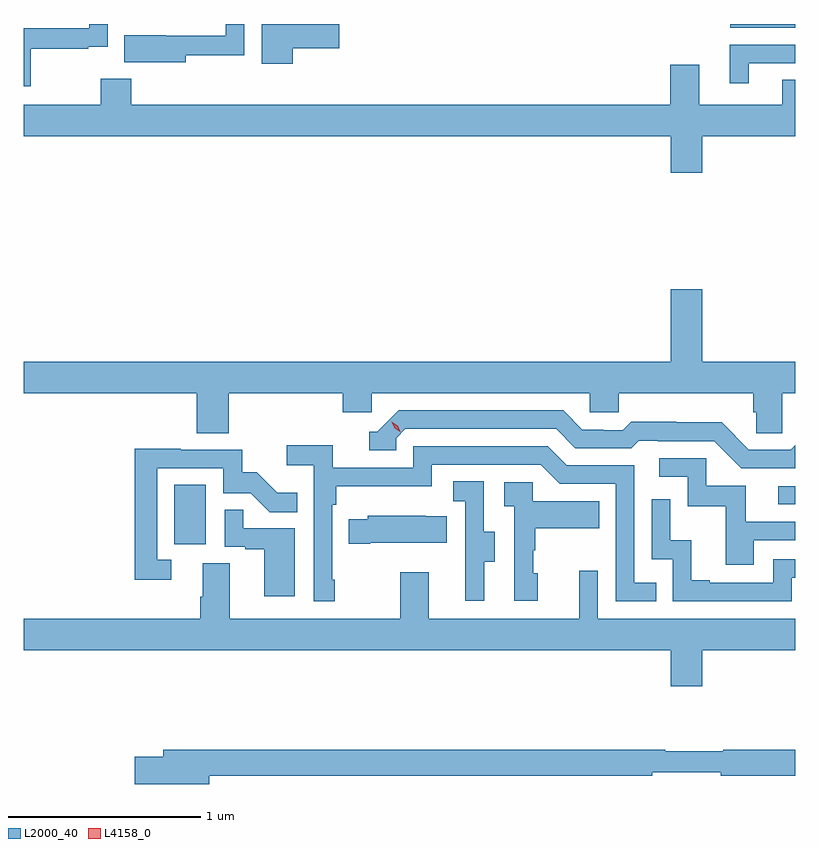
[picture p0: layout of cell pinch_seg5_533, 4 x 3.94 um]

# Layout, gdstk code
import gdstk
lib = gdstk.Library(unit=1e-6, precision=1e-09)
def R(c, l, rs):  # rectangles x0, y0, x1, y1
    for r in rs: c.add(gdstk.rectangle(r[:2], r[2:], *l))
def P(c, l, *ps):  # polygons
    for p in ps: c.add(gdstk.Polygon(p, *l))
L2000_40 = (2000, 40)
L4158_0 = (4158, 0)

pinch_seg5_533 = lib.new_cell('pinch_seg5_533')
R(pinch_seg5_533, L2000_40, [(1001.594,841.326,1001.758,841.633), (1004.727,841.533,1004.814,841.626), (1004.478,844.004,1004.814,844.023)])
P(pinch_seg5_533, L2000_40, [(1001.653,843.862),(1001.958,843.862),(1001.958,844.023),(1001.862,844.023),(1001.862,843.963),(1001.549,843.963),(1001.549,843.964),(1001.335,843.964),(1001.335,843.824),(1001.653,843.824)],
  [(1000.849,843.894),(1001.147,843.894),(1001.147,843.905),(1001.25,843.905),(1001.25,844.023),(1001.154,844.023),(1001.154,844.002),(1000.814,844.002),(1000.814,843.699),(1000.849,843.699)],
  [(1002.208,843.898),(1002.451,843.898),(1002.451,844.023),(1002.047,844.023),(1002.047,843.816),(1002.208,843.816)],
  [(1004.572,843.819),(1004.814,843.819),(1004.814,843.915),(1004.474,843.915),(1004.474,843.717),(1004.572,843.717)],
  [(1004.332,843.44),(1004.814,843.44),(1004.814,843.734),(1004.747,843.734),(1004.747,843.604),(1004.317,843.604),(1004.317,843.811),(1004.165,843.811),(1004.165,843.604),(1001.372,843.604),(1001.372,843.739),(1001.212,843.739),(1001.212,843.604),(1000.814,843.604),(1000.814,843.44),(1004.168,843.44),(1004.168,843.252),(1004.332,843.252)],
  [(1001.876,842.108),(1002.467,842.108),(1002.467,842.01),(1002.618,842.01),(1002.618,842.108),(1003.749,842.108),(1003.749,842.01),(1003.899,842.01),(1003.899,842.108),(1004.597,842.108),(1004.597,842.01),(1004.611,842.01),(1004.611,841.9),(1004.748,841.9),(1004.748,842.108),(1004.814,842.108),(1004.814,842.272),(1004.332,842.272),(1004.332,842.647),(1004.168,842.647),(1004.168,842.272),(1000.814,842.272),(1000.814,842.108),(1001.711,842.108),(1001.711,841.9),(1001.876,841.9)],
  [(1004.814,841.839),(1004.79,841.815),(1004.574,841.815),(1004.432,841.957),(1004.196,841.957),(1004.196,841.96),(1003.963,841.96),(1003.921,841.917),(1003.818,841.917),(1003.818,841.92),(1003.711,841.92),(1003.612,842.019),(1002.759,842.019),(1002.648,841.908),(1002.605,841.908),(1002.605,841.812),(1002.744,841.812),(1002.744,841.875),(1002.792,841.923),(1003.575,841.923),(1003.674,841.824),(1003.963,841.824),(1004.002,841.863),(1004.101,841.863),(1004.101,841.86),(1004.394,841.86),(1004.535,841.719),(1004.814,841.719)],
  [(1002.427,841.141),(1002.414,841.141),(1002.414,841.529),(1002.434,841.529),(1002.434,841.625),(1002.93,841.625),(1002.93,841.737),(1003.494,841.737),(1003.593,841.638),(1003.884,841.638),(1003.884,841.029),(1004.093,841.029),(1004.093,841.125),(1003.98,841.125),(1003.98,841.734),(1003.63,841.734),(1003.531,841.833),(1002.834,841.833),(1002.834,841.722),(1002.416,841.722),(1002.416,841.838),(1002.177,841.838),(1002.177,841.736),(1002.318,841.736),(1002.318,841.029),(1002.427,841.029)],
  [(1001.578,841.245),(1001.505,841.245),(1001.505,841.719),(1001.847,841.719),(1001.847,841.59),(1001.991,841.59),(1002.089,841.492),(1002.233,841.492),(1002.233,841.591),(1002.129,841.591),(1002.022,841.698),(1001.946,841.698),(1001.946,841.815),(1001.627,841.815),(1001.627,841.82),(1001.389,841.82),(1001.389,841.14),(1001.578,841.14)],
  [(1004.599,841.347),(1004.814,841.347),(1004.814,841.443),(1004.557,841.443),(1004.557,841.629),(1004.352,841.629),(1004.352,841.77),(1004.109,841.77),(1004.109,841.674),(1004.256,841.674),(1004.256,841.521),(1004.455,841.521),(1004.455,841.218),(1004.599,841.218)],
  [(1003.201,841.234),(1003.255,841.234),(1003.255,841.389),(1003.2,841.389),(1003.2,841.652),(1003.041,841.652),(1003.041,841.549),(1003.104,841.549),(1003.104,841.245),(1003.103,841.245),(1003.103,841.032),(1003.201,841.032)],
  [(1003.48,841.176),(1003.455,841.176),(1003.455,841.295),(1003.465,841.295),(1003.465,841.409),(1003.799,841.409),(1003.799,841.549),(1003.452,841.549),(1003.452,841.647),(1003.305,841.647),(1003.305,841.523),(1003.356,841.523),(1003.356,841.032),(1003.48,841.032)],
  [(1004.796,841.152),(1004.814,841.152),(1004.814,841.248),(1004.7,841.248),(1004.7,841.125),(1004.371,841.125),(1004.371,841.138),(1004.276,841.138),(1004.276,841.346),(1004.166,841.346),(1004.166,841.558),(1004.07,841.558),(1004.07,841.248),(1004.178,841.248),(1004.178,841.029),(1004.796,841.029)],
  [(1002.22,841.407),(1001.951,841.407),(1001.951,841.505),(1001.856,841.505),(1001.856,841.311),(1001.963,841.311),(1001.963,841.299),(1002.062,841.299),(1002.062,841.056),(1002.22,841.056)],
  [(1002.61,841.334),(1003.007,841.334),(1003.007,841.471),(1002.899,841.471),(1002.899,841.474),(1002.597,841.474),(1002.597,841.456),(1002.499,841.456),(1002.499,841.327),(1002.61,841.327)],
  [(1004.332,840.776),(1004.814,840.776),(1004.814,840.94),(1003.791,840.94),(1003.791,841.189),(1003.694,841.189),(1003.694,840.94),(1002.913,840.94),(1002.913,841.18),(1002.766,841.18),(1002.766,840.94),(1001.881,840.94),(1001.881,841.226),(1001.741,841.226),(1001.741,841.052),(1001.729,841.052),(1001.729,840.94),(1000.814,840.94),(1000.814,840.776),(1004.168,840.776),(1004.168,840.588),(1004.332,840.588)],
  [(1001.776,840.124),(1004.072,840.124),(1004.072,840.143),(1004.428,840.143),(1004.428,840.124),(1004.814,840.124),(1004.814,840.26),(1004.441,840.26),(1004.441,840.253),(1004.141,840.253),(1004.141,840.26),(1001.537,840.26),(1001.537,840.224),(1001.388,840.224),(1001.388,840.082),(1001.776,840.082)])
P(pinch_seg5_533, L4158_0, [(1002.767,841.908),(1002.737,841.928),(1002.721,841.961),(1002.721,841.961),(1002.721,841.961),(1002.752,841.941),(1002.767,841.909),(1002.767,841.908)])

lib.write_gds('pinch_seg5_533.gds')
